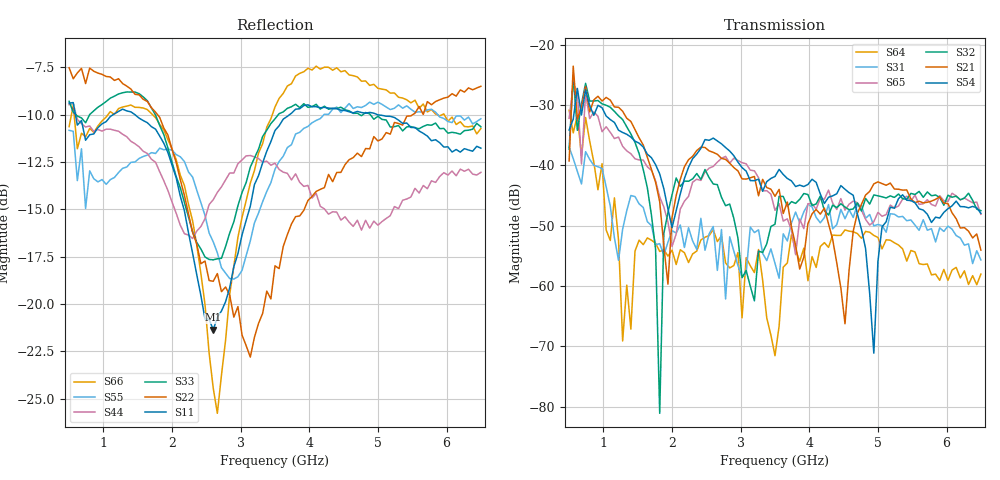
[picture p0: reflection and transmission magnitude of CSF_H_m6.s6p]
!Keysight Technologies,M9804A,MY58100912,A.14.10.03
!Date: Thursday, April 27, 2023 10:28:33
!Correction: S11(C  6-Port  )
!S12(C  6-Port  )
!S13(C  6-Port  )
!S14(C  6-Port  )
!S15(C  6-Port  )
!S16(C  6-Port  )
!S21(C  6-Port  )
!S22(C  6-Port  )
!S23(C  6-Port  )
!S24(C  6-Port  )
!S25(C  6-Port  )
!S26(C  6-Port  )
!S31(C  6-Port  )
!S32(C  6-Port  )
!S33(C  6-Port  )
!S34(C  6-Port  )
!S35(C  6-Port  )
!S36(C  6-Port  )
!S41(C  6-Port  )
!S42(C  6-Port  )
!S43(C  6-Port  )
!S44(C  6-Port  )
!S45(C  6-Port  )
!S46(C  6-Port  )
!S51(C  6-Port  )
!S52(C  6-Port  )
!S53(C  6-Port  )
!S54(C  6-Port  )
!S55(C  6-Port  )
!S56(C  6-Port  )
!S61(C  6-Port  )
!S62(C  6-Port  )
!S63(C  6-Port  )
!S64(C  6-Port  )
!S65(C  6-Port  )
!S66(C  6-Port  )
!S6P File: Measurement: :
# Hz S  RI  R 50
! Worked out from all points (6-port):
!   101 points, 500 MHz to 6.5 GHz, reference 50 ohm
!   strongest paths, dB at 500 MHz, 2 GHz, 3.5 GHz, 5 GHz, 6.5 GHz:
!     S54: -34.1, -50.3, -41.8, -55.9, -47.9
!     S21: -39.3, -48.6, -45.1, -42.7, -54.0
!     S32: -37.3, -44.9, -49.7, -45.0, -47.5
!     S65: -32.2, -53.4, -47.4, -47.8, -48.1
!     S31: -37.0, -50.8, -56.2, -49.8, -55.7
!     S64: -30.8, -54.1, -71.6, -51.9, -58.0
!   lowest |S11| = -21.4 dB at 2.6 GHz (marker M1), VSWR 1.19, Z = 42.4 + j2.31 ohm
!   |S11| at or under -10 dB: 592 MHz to 1.142 GHz (549.6 MHz wide, 63.4 % of centre); 1.458 GHz to 3.713 GHz (2.254 GHz wide, 87.2 % of centre); 4.991 GHz to end of sweep
